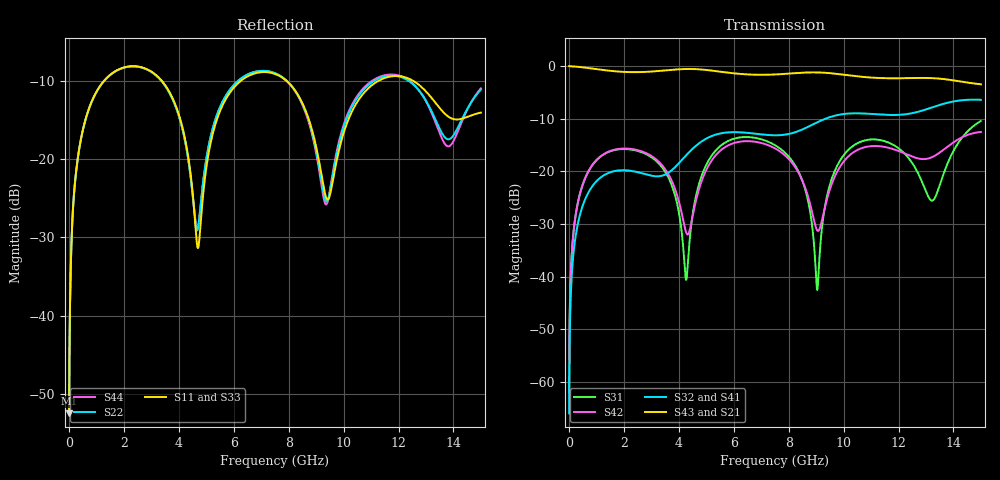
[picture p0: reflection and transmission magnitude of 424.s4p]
! Created with skrf 1.8.0 (http://scikit-rf.org).
# GHz S RI R 50.0
!freq ReS11 ImS11 ReS12 ImS12 ReS13 ImS13
! ReS14 ImS14
! ReS21 ImS21 ReS22 ImS22 ReS23 ImS23
! ReS24 ImS24
! ReS31 ImS31 ReS32 ImS32 ReS33 ImS33
! ReS34 ImS34
! ReS41 ImS41 ReS42 ImS42 ReS43 ImS43
! ReS44 ImS44
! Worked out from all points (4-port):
!   2499 points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, 5 MHz to 15 GHz, reference 50 ohm
!   strongest paths, dB at 5 MHz, 3.476 GHz, 7.19 GHz, 11.1 GHz, 15 GHz:
!     S43: 0.0, -0.8, -1.6, -2.2, -3.5
!     S21: 0.0, -0.8, -1.7, -2.2, -3.4
!     S32: -66.0, -20.7, -13.1, -9.1, -6.4
!     S41: -66.0, -20.7, -13.1, -9.2, -6.4
!     S42: -61.9, -19.4, -14.9, -15.2, -12.5
!     S31: -61.9, -19.9, -14.2, -13.9, -10.4
!   lowest |S11| = -52.4 dB at 5 MHz (marker M1), VSWR 1.00, Z = 50.2 + j0.145 ohm
!   |S11| at or under -10 dB: 3.37 GHz to 6.273 GHz (2.904 GHz wide, 60.2 % of centre); 7.907 GHz to 11.29 GHz (3.385 GHz wide, 35.3 % of centre); 12.51 GHz to end of sweep (the widest 3 of 4)
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0.005  0.00191 0.00145  0.9981 -0.00372  9.82e-05 0.000797  -9.52e-05 -0.000494
       0.9981 -0.00372  0.00191 0.00145  -9.52e-05 -0.000494  9.83e-05 0.000797
       9.82e-05 0.000797  -9.52e-05 -0.000494  0.00191 0.00145  0.9981 -0.00372
       -9.52e-05 -0.000494  9.83e-05 0.000797  0.9981 -0.00372  0.00191 0.00145
0.3126303  0.0312 0.0936  0.9572 -0.2297  0.0151 0.0464  -0.0126 -0.0281
           0.9572 -0.2297  0.0312 0.0936  -0.0126 -0.0281  0.0154 0.0463
           0.0151 0.0464  -0.0126 -0.0281  0.0312 0.0936  0.9572 -0.2298
           -0.0126 -0.0281  0.0154 0.0463  0.9572 -0.2298  0.0312 0.0936
1.3193  0.2676 0.1767  0.5544 -0.7248  0.1313 0.0676  -0.093 -0.00708
        0.5544 -0.7248  0.2666 0.1773  -0.0931 -0.00695  0.1341 0.0638
        0.1313 0.0676  -0.0931 -0.00695  0.2675 0.1767  0.5544 -0.7248
        -0.093 -0.00708  0.1341 0.0638  0.5544 -0.7248  0.2667 0.1772
4.770738  0.0293 0.0178  -0.9302 -0.00889  0.0325 0.0745  0.00388 0.1875
          -0.9302 -0.00889  0.0386 0.0255  0.00627 0.1875  -0.00594 0.0724
          0.0325 0.0745  0.00627 0.1875  0.029 0.0168  -0.9302 -0.00906
          0.00388 0.1875  -0.00594 0.0724  -0.9302 -0.00906  0.0388 0.0247
9.041267  0.0746 -0.0818  0.7945 0.3544  -0.00739 0.00112  0.1153 -0.2687
          0.7945 0.3544  0.0697 -0.0779  0.1074 -0.272  -0.0273 -0.00329
          -0.00739 0.00112  0.1074 -0.272  0.0741 -0.0772  0.7958 0.3525
          0.1153 -0.2687  -0.0273 -0.00329  0.7958 0.3525  0.0662 -0.0747
12.06128  0.3363 -0.00951  0.0369 -0.7666  0.1007 -0.1257  -0.342 0.0219
          0.0369 -0.7666  0.3322 -0.031  -0.3428 0.036  0.0799 -0.1316
          0.1007 -0.1257  -0.3428 0.036  0.3375 -0.00162  0.0357 -0.7654
          -0.342 0.0219  0.0799 -0.1316  0.0357 -0.7654  0.3361 -0.0392
15  0.1965 -0.0194  -0.6439 0.1976  0.2596 0.1526  0.1964 0.4352
    -0.6439 0.1976  0.2609 0.0936  0.2123 0.4284  0.0728 0.2253
    0.2596 0.1526  0.2123 0.4284  0.202 -0.0173  -0.6409 0.201
    0.1964 0.4352  0.0728 0.2253  -0.6409 0.201  0.2597 0.1098
